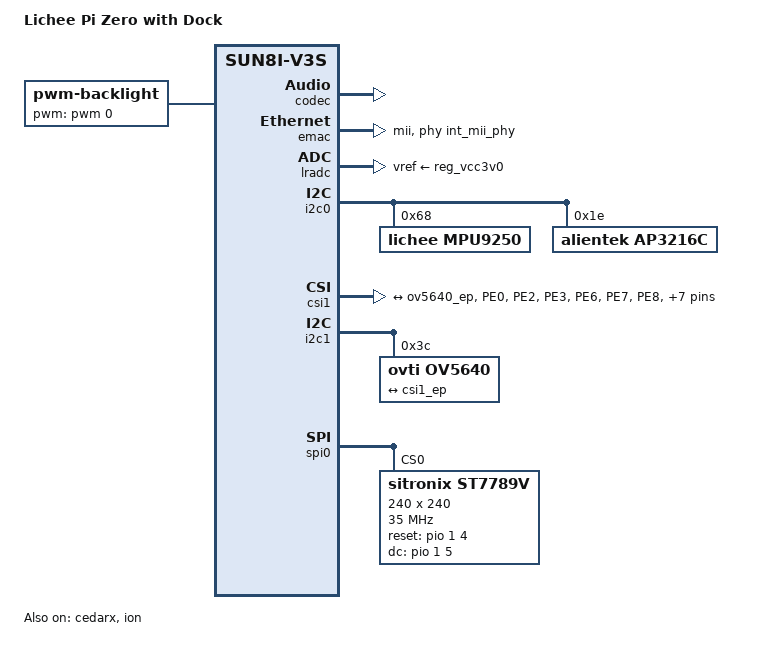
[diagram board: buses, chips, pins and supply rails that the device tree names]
/*
 * Copyright (C) 2016 Icenowy Zheng <icenowy@aosc.xyz>
 *
 * This file is dual-licensed: you can use it either under the terms
 * of the GPL or the X11 license, at your option. Note that this dual
 * licensing only applies to this file, and not this project as a
 * whole.
 *
 *  a) This file is free software; you can redistribute it and/or
 *     modify it under the terms of the GNU General Public License as
 *     published by the Free Software Foundation; either version 2 of the
 *     License, or (at your option) any later version.
 *
 *     This file is distributed in the hope that it will be useful,
 *     but WITHOUT ANY WARRANTY; without even the implied warranty of
 *     MERCHANTABILITY or FITNESS FOR A PARTICULAR PURPOSE.  See the
 *     GNU General Public License for more details.
 *
 * Or, alternatively,
 *
 *  b) Permission is hereby granted, free of charge, to any person
 *     obtaining a copy of this software and associated documentation
 *     files (the "Software"), to deal in the Software without
 *     restriction, including without limitation the rights to use,
 *     copy, modify, merge, publish, distribute, sublicense, and/or
 *     sell copies of the Software, and to permit persons to whom the
 *     Software is furnished to do so, subject to the following
 *     conditions:
 *
 *     The above copyright notice and this permission notice shall be
 *     included in all copies or substantial portions of the Software.
 *
 *     THE SOFTWARE IS PROVIDED "AS IS", WITHOUT WARRANTY OF ANY KIND,
 *     EXPRESS OR IMPLIED, INCLUDING BUT NOT LIMITED TO THE WARRANTIES
 *     OF MERCHANTABILITY, FITNESS FOR A PARTICULAR PURPOSE AND
 *     NONINFRINGEMENT. IN NO EVENT SHALL THE AUTHORS OR COPYRIGHT
 *     HOLDERS BE LIABLE FOR ANY CLAIM, DAMAGES OR OTHER LIABILITY,
 *     WHETHER IN AN ACTION OF CONTRACT, TORT OR OTHERWISE, ARISING
 *     FROM, OUT OF OR IN CONNECTION WITH THE SOFTWARE OR THE USE OR
 *     OTHER DEALINGS IN THE SOFTWARE.
 */

#include "sun8i-v3s-licheepi-zero.dts"
#include <dt-bindings/input/input.h>

/ {
	model = "Lichee Pi Zero with Dock";
	compatible = "licheepi,licheepi-zero-dock", "licheepi,licheepi-zero",
		     "allwinner,sun8i-v3s";

	aliases {
		ethernet0 = &emac;
	};

	leds {
		/* The LEDs use PG0~2 pins, which conflict with MMC1 */
		status = "okay";
	};
	chosen {
            /delete-node/framebuffer@0;
    };

	backlight: backlight {
		compatible = "pwm-backlight";
		pwms = <&pwm 0 1000000 0>;
		brightness-levels = <0 30 40 50 60 70 100>;
		default-brightness-level = <6>;
		status = "okay";
	};

	panel: panel {
		compatible = "urt,umsh-8596md-t", "simple-panel";
		#address-cells = <1>;
		#size-cells = <0>;
		status = "disabled";

		port@0 {
			reg = <0>;
			backlight = <&backlight>;
			#address-cells = <1>;
			#size-cells = <0>;

			panel_input: endpoint@0 {
				reg = <0>;
				remote-endpoint = <&tcon0_out_lcd>;
			};
		};
	};
};

&cedarx {
	status = "okay";
};

&ion {
	status = "okay";
};

&codec {
	allwinner,audio-routing =
		"Headphone", "HP",
		"Headphone", "HPCOM",
		"MIC1", "Mic",
		"Mic",  "HBIAS";
	status = "okay";
};

&emac {
	phy-handle = <&int_mii_phy>;
	phy-mode = "mii";
	allwinner,leds-active-low;
	status = "okay";
};

&mmc1 {
	broken-cd;
	bus-width = <4>;
	vmmc-supply = <&reg_vcc3v3>;
	status = "disabled";
};

&lradc {
	vref-supply = <&reg_vcc3v0>;
	status = "okay";

	button-200 {
		label = "Volume Up";
		linux,code = <KEY_VOLUMEUP>;
		channel = <0>;
		voltage = <200000>;
	};

	button-400 {
		label = "Volume Down";
		linux,code = <KEY_VOLUMEDOWN>;
		channel = <0>;
		voltage = <400000>;
	};

	button-600 {
		label = "Select";
		linux,code = <KEY_SELECT>;
		channel = <0>;
		voltage = <600000>;
	};

	button-800 {
		label = "Start";
		linux,code = <KEY_OK>;
		channel = <0>;
		voltage = <800000>;
	};
};

&i2c0 {
	mpu9250@68{
		status = "okay";
		compatible = "lichee,mpu9250";
		reg = <0x68>;
	};

	ap3216c@1e { 
		compatible = "alientek,ap3216c";
		reg = <0x1e>; 
		 };
};

&de {
	status = "default";
};

&pwm {
	pinctrl-names = "default";
	pinctrl-0 = <&pwm0_pins>;
	status = "default";
};

&tcon0 {
	pinctrl-names = "default";
	pinctrl-0 = <&lcd_rgb666_pins_a>;
	status = "disabled";  //incase of use CSI function
};

&tcon0_out {
	tcon0_out_lcd: endpoint@0 {
		reg = <0>;
		remote-endpoint = <&panel_input>;
	};
};

&csi1 {
	status = "okay";
    pinctrl-names = "default";
    pinctrl-0 = <&csi1_clk &csi1_8bit>;

	port {
	csi1_ep: endpoint {	
		remote-endpoint = <&ov5640_ep>;
		bus-width = <8>;
		hsync-active = <0>;
		vsync-active = <0>;
	    pclk-sample = <1>;
		};
	};

	/* if use OV2640 */
	// port {
	// csi1_ep: endpoint {
	// 	remote-endpoint = <&ov2640_ep>;
	// 	bus-width = <12>;
	// 	hsync-active = <0>;
	// 	vsync-active = <0>;
	//     pclk-sample = <1>;
	//  };
	// };
 };

	

&i2c1 {
	pinctrl-0 = <&i2c1_pins>;
	pinctrl-names = "default";
	status = "okay";

	ov5640: camera@3c {
		compatible = "ovti,ov5640";
		reg = <0x3c>;
		pinctrl-0 = <&csi1_mclk>;
		pinctrl-names = "default";
		clocks = <&ccu CLK_CSI1_MCLK>;
		clock-names = "xclk";
		assigned-clocks = <&ccu CLK_CSI1_MCLK>;
		assigned-clock-rates = <24000000>;

		port {
			ov5640_ep: endpoint {
				remote-endpoint = <&csi1_ep>;
				bus-width = <8>;
				hsync-active = <0>;
				vsync-active = <0>;
				pclk-sample = <1>;
			};
		};
	};

};


&pio {
	csi1_8bit: csi1-8bit@0 {
	       pins 	 = "PE6","PE7","PE8","PE9","PE10","PE11","PE12","PE13","PE14","PE15";
	       bias-disable;
	       function = "csi";
    };

	csi1_clk: csi1-clk@0 {
	        pins = "PE0","PE2","PE3";
	        bias-disable;
	        function = "csi";
    };
    
    csi1_mclk: csi1-mclk@0 {
	        pins = "PE1";
	        bias-disable;
	        function = "csi";
    };

};


&spi0{
	status = "okay";
	st7789v:st7789v@0{
		compatible = "sitronix,st7789v";
		reg = <0>;
		spi-max-frequency = <35000000>;
		reset = <&pio 1 4 GPIO_ACTIVE_HIGH>;
		dc 	  = <&pio 1 5 GPIO_ACTIVE_HIGH>;
		rotation = <270>;
		buswidth =<8>; 
		rgb;
		spi-cpol;
		spi-cpha;
		fps = <60>;
		debug = <0x0>;
		width = <240>;
        height= <240>;
		status = "okay";
	};
};
